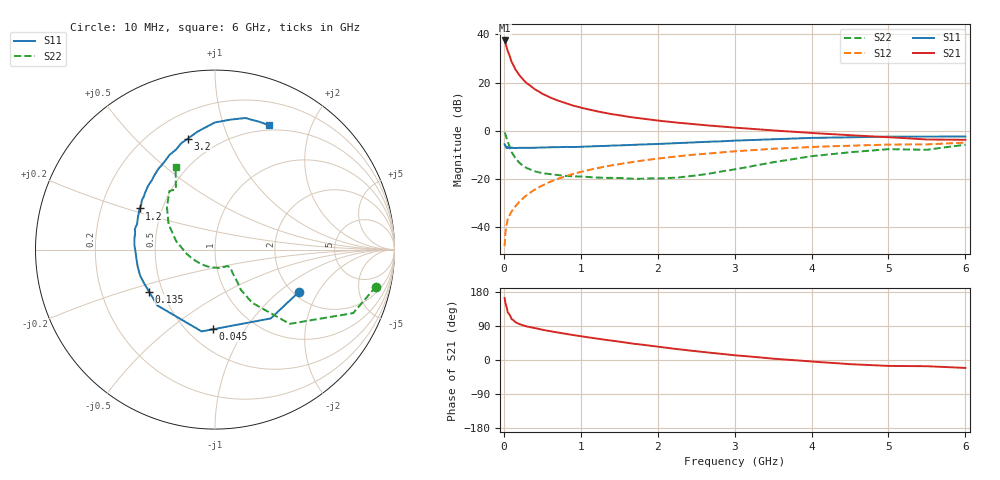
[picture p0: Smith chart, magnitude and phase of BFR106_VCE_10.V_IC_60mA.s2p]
! Infineon Technologies  Discrete & RF Semiconductors
! BFR106
! VCE =  10. V,  IC =  60 mA
! Common Emitter S-Parameters:  Nov 2015
# GHz  S  MA  R  50
!  f  S11  S21  S12  S22
! GHz  MAG  ANG  MAG  ANG  MAG  ANG  MAG  ANG
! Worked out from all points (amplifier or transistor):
!   210 points, 10 MHz to 6 GHz, reference 50 ohm
!   highest |S21| = 37.5 dB at 10 MHz (marker M1)
!   |S21| within 3 dB of that: start of sweep to 38.28 MHz
!   unconditionally stable (mu >= 1): 251.8 MHz to 2.337 GHz
!   at 185 MHz: K = 0.93, MSG = 27.0 dB, |S12| = -30.1 dB
!   at 1.52 GHz: K = 1.05, MAG = 8.6 dB, |S12| = -13.8 dB
!   at 6 GHz: K = 0.98, MSG = 0.6 dB, |S12| = -4.9 dB
!   S11 on the Smith chart (normalised r, x): 10 MHz: 2.13, -1.39; 45 MHz: 0.66, -0.73; 135 MHz: 0.42, -0.24; 1.2 GHz: 0.37, +0.22; 3.2 GHz: 0.35, +0.72; 6 GHz: 0.44, +1.43
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0.01  0.5233 -26.9  74.74 163.6  0.004 82.9  0.9213 -12.9
0.02  0.4935 -51.0  67.52 150.8  0.0075 70.4  0.8469 -24.7
0.045  0.4438 -91.3  48.48 131.3  0.0133 61.0  0.6236 -40.3
0.05  0.4618 -99.3  45.67 125.6  0.0145 60.0  0.587 -44.8
0.1  0.4473 -136.0  27.02 108.2  0.0209 60.7  0.3611 -55.1
0.135  0.4361 -147.5  21.14 102.9  0.0251 62.1  0.2942 -56.5
0.15  0.4368 -152.5  18.7 99.7  0.0269 62.6  0.2656 -57.3
0.2  0.4415 -160.5  14.31 94.9  0.0332 66.6  0.2173 -55.3
0.24  0.4408 -165.9  12.05 91.9  0.0385 68.2  0.1907 -54.4
0.3  0.4407 -171.2  9.625 88.4  0.0462 69.4  0.1672 -53.4
0.4  0.4426 -178.0  7.291 83.9  0.0595 71.4  0.1436 -50.9
0.5  0.4498 176.7  5.848 79.7  0.0728 71.2  0.1311 -49.2
0.6  0.453 172.6  4.908 76.0  0.0865 71.0  0.1258 -50.1
0.8  0.4614 165.4  3.719 69.0  0.1129 69.5  0.1148 -53.1
1.02  0.4657 157.2  2.959 62.1  0.1419 67.3  0.1113 -58.8
1.2  0.4785 151.4  2.548 56.7  0.165 65.3  0.1065 -65.6
2.02  0.5316 129.9  1.611 34.7  0.2652 54.3  0.1025 -110.0
3.1  0.629 105.6  1.127 10.9  0.382 38.8  0.168 -176.2
3.2  0.6371 103.7  1.096 9.2  0.3914 37.3  0.1798 179.0
4.1  0.7116 88.7  0.877 -5.4  0.4655 24.3  0.306 148.4
5.1  0.7519 75.7  0.718 -15.7  0.5157 11.4  0.4106 127.0
6  0.7555 66.5  0.647 -20.9  0.5661 1.4  0.5104 115.5
